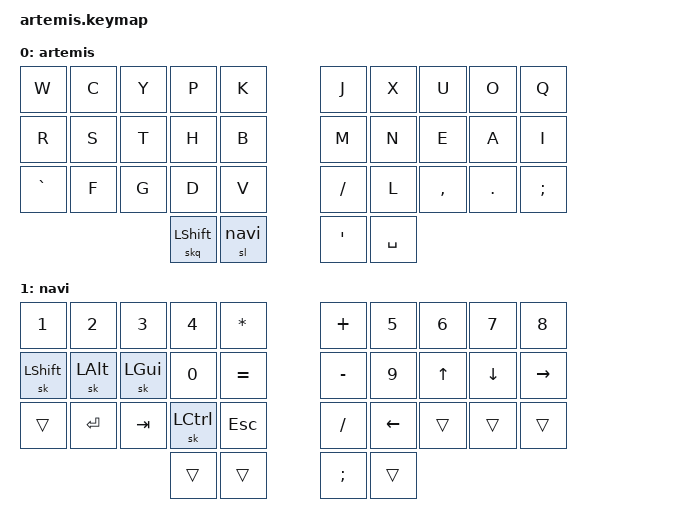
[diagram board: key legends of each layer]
/*
 * Copyright (c) 2020 The ZMK Contributors
 *
 * SPDX-License-Identifier: MIT
 */

#include <behaviors.dtsi>
#include <dt-bindings/zmk/keys.h>
#include <dt-bindings/zmk/bt.h>

#define artemis 0
#define navi    1

/ {
    combos {
        #include "combos.dtsi"
    };
    
    behaviors {
        skq: sticky_key_quick_release {
            compatible = "zmk,behavior-sticky-key";
            label = "STICKY_KEY_QUICK_RELEASE";
            #binding-cells = <1>;
            bindings = <&kp>;
            quick-release;
            release-after-ms = <1000>;
        };
    };

    keymap {
        compatible = "zmk,keymap";
                
        artemis_layer {
            label = "artemis";
            bindings = <
                &kp W     &kp C &kp Y &kp P &kp K        &kp J    &kp X &kp U     &kp O   &kp Q
                &kp R     &kp S &kp T &kp H &kp B        &kp M    &kp N &kp E     &kp A   &kp I
                &kp GRAVE &kp F &kp G &kp D &kp V        &kp FSLH &kp L &kp COMMA &kp DOT &kp SEMI
                            &skq LSHFT &sl navi                     &kp SQT &kp SPACE
            >;
        };
                
        navi_layer {
            label = "navi";
            bindings = <
                &kp N1    &kp N2   &kp N3   &kp N4   &kp STAR        &kp PLUS  &kp N5   &kp N6 &kp N7   &kp N8
                &sk LSHFT &sk LALT &sk LGUI &kp N0   &kp EQUAL       &kp MINUS &kp N9   &kp UP &kp DOWN &kp RIGHT
                &trans    &kp RET  &kp TAB  &sk LCTL &kp ESC         &kp FSLH  &kp LEFT &trans &trans   &trans
                            &trans &trans                              &kp SEMI &trans 
            >;
        };
    };
};
